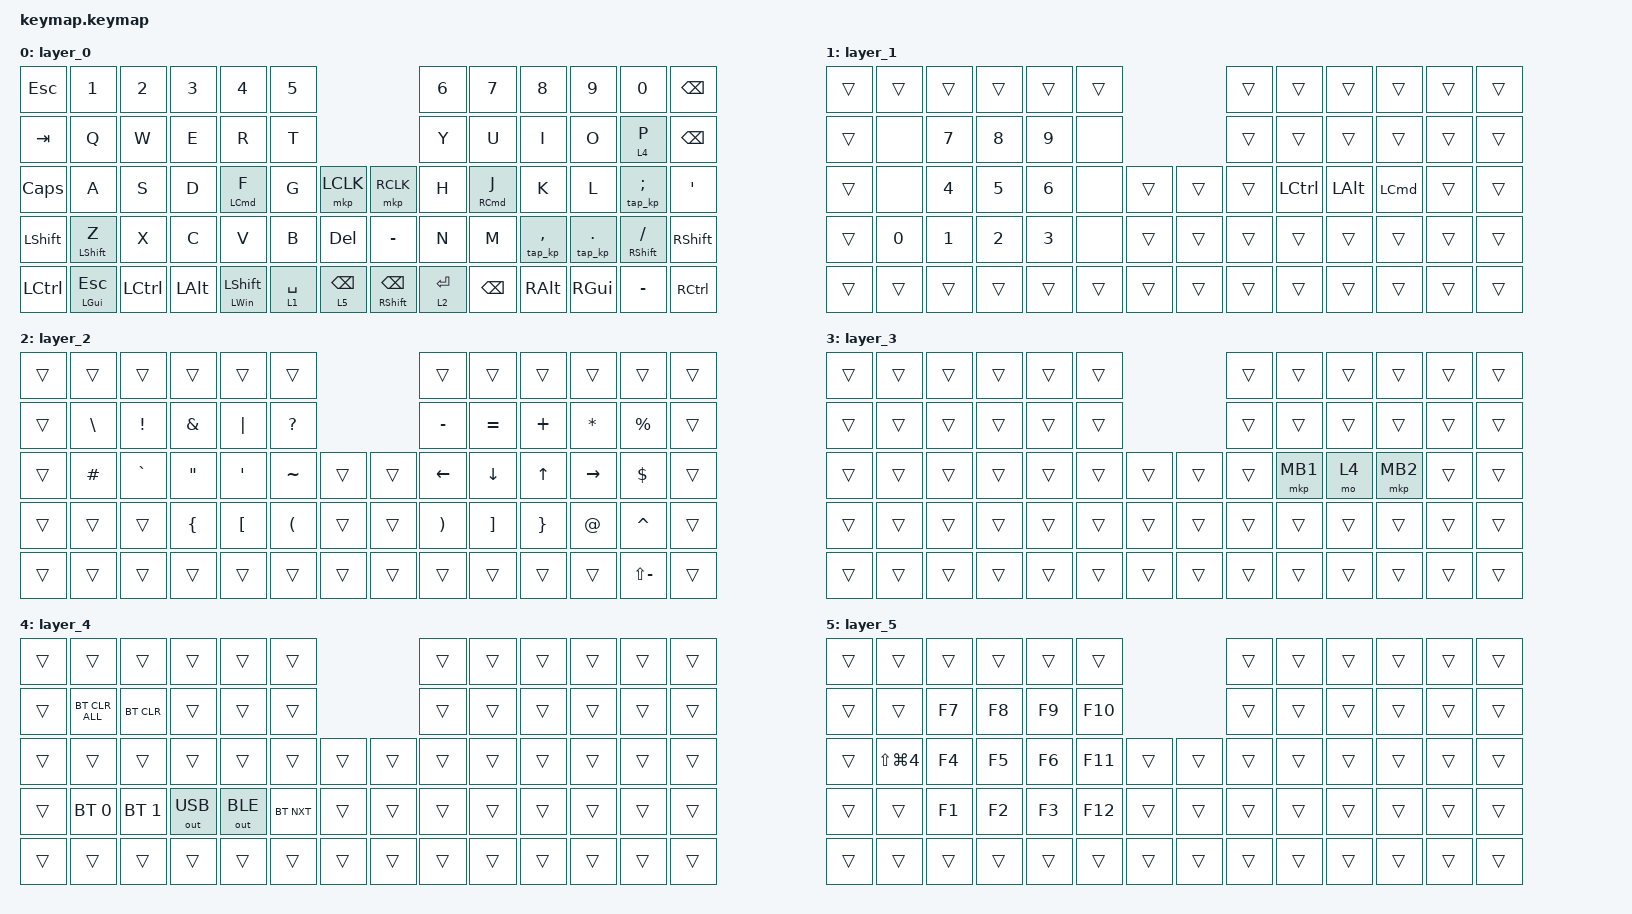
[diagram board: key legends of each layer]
#include <behaviors.dtsi>
#include <dt-bindings/zmk/bt.h>
#include <dt-bindings/zmk/keys.h>
#include <dt-bindings/zmk/outputs.h>
#include <dt-bindings/zmk/pointing.h>

&mt {
    flavor = "balanced";
    quick-tap-ms = <300>;
};

&lt {
    flavor = "balanced";
    quick-tap-ms = <300>;
};

/ {
    combos {
        compatible = "zmk,combos";

        lang2 {
            bindings = <&kp LANG2>;
            key-positions = <29 28>;
        };

        lang1 {
            bindings = <&kp LANG1>;
            key-positions = <32 33>;
        };

        tab {
            bindings = <&kp TAB>;
            key-positions = <25 26>;
        };

        cw {
            bindings = <&caps_word>;
            key-positions = <18 19>;
        };
    };

    macros {
        tap_kp: tap_kp {
            compatible = "zmk,behavior-macro-one-param";
            #binding-cells = <1>;
            wait-ms = <0>;
            tap-ms = <20>;

            bindings
                = <&macro_param_1to1>
                , <&kp MACRO_PLACEHOLDER>
                ;
        };
    };

    behaviors {
        lt_bspc: layer_tap_backspace {
            compatible = "zmk,behavior-hold-tap";
            #binding-cells = <2>;
            flavor = "hold-preferred";
            tapping-term-ms = <180>;
            quick-tap-ms = <0>;
            bindings = <&mo>, <&kp>;
        };
    };

    keymap {
        compatible = "zmk,keymap";

        layer_0 {
            bindings = <
&kp ESC    &kp N1               &kp N2     &kp N3    &kp N4                   &kp N5                                              &kp N6       &kp N7      &kp N8         &kp N9       &kp N0                &kp BSPC
&kp TAB    &kp Q                &kp W      &kp E     &kp R                    &kp T                                               &kp Y        &kp U       &kp I          &kp O        &lt 4 P               &kp BSPC
&kp CAPS   &kp A                &kp S      &kp D     &mt LCMD F               &kp G        &mkp LCLK        &mkp RCLK             &kp H        &mt RCMD J  &kp K          &kp L        &tap_kp SEMI          &kp SQT
&kp LSHFT  &mt LEFT_SHIFT Z     &kp X      &kp C     &kp V                    &kp B        &kp DELETE       &kp MINUS             &kp N        &kp M       &tap_kp COMMA  &tap_kp DOT  &mt RIGHT_SHIFT FSLH  &kp RSHFT
&kp LCTRL  &mt LEFT_GUI ESCAPE  &kp LCTRL  &kp LALT  &mt LEFT_WIN LEFT_SHIFT  &lt 1 SPACE  &lt_bspc 5 BSPC  &mt RIGHT_SHIFT BSPC  &lt 2 ENTER  &kp BSPC    &kp RALT       &kp RGUI     &kp MINUS             &kp RCTRL
            >;
        };

        layer_1 {
            bindings = <
&trans  &trans  &trans  &trans  &trans  &trans                  &trans  &trans     &trans        &trans            &trans  &trans
&trans  &none   &kp N7  &kp N8  &kp N9  &none                   &trans  &trans     &trans        &trans            &trans  &trans
&trans  &none   &kp N4  &kp N5  &kp N6  &none   &trans  &trans  &trans  &kp LCTRL  &kp LEFT_ALT  &kp LEFT_COMMAND  &trans  &trans
&trans  &kp N0  &kp N1  &kp N2  &kp N3  &none   &trans  &trans  &trans  &trans     &trans        &trans            &trans  &trans
&trans  &trans  &trans  &trans  &trans  &trans  &trans  &trans  &trans  &trans     &trans        &trans            &trans  &trans
            >;
        };

        layer_2 {
            bindings = <
&trans  &trans         &trans           &trans             &trans            &trans                                &trans                 &trans             &trans           &trans        &trans         &trans
&trans  &kp BACKSLASH  &kp EXCLAMATION  &kp AMPERSAND      &kp PIPE          &kp QUESTION                          &kp MINUS              &kp EQUAL          &kp PLUS         &kp ASTERISK  &kp PERCENT    &trans
&trans  &kp HASH       &kp GRAVE        &kp DOUBLE_QUOTES  &kp SQT           &kp TILDE             &trans  &trans  &kp LEFT               &kp DOWN           &kp UP           &kp RIGHT     &kp DOLLAR     &trans
&trans  &trans         &trans           &kp LEFT_BRACE     &kp LEFT_BRACKET  &kp LEFT_PARENTHESIS  &trans  &trans  &kp RIGHT_PARENTHESIS  &kp RIGHT_BRACKET  &kp RIGHT_BRACE  &kp AT_SIGN   &kp CARET      &trans
&trans  &trans         &trans           &trans             &trans            &trans                &trans  &trans  &trans                 &trans             &trans           &trans        &kp LS(MINUS)  &trans
            >;
        };

        layer_3 {
            bindings = <
&trans  &trans  &trans  &trans  &trans  &trans                  &trans  &trans    &trans  &trans    &trans  &trans
&trans  &trans  &trans  &trans  &trans  &trans                  &trans  &trans    &trans  &trans    &trans  &trans
&trans  &trans  &trans  &trans  &trans  &trans  &trans  &trans  &trans  &mkp MB1  &mo 4   &mkp MB2  &trans  &trans
&trans  &trans  &trans  &trans  &trans  &trans  &trans  &trans  &trans  &trans    &trans  &trans    &trans  &trans
&trans  &trans  &trans  &trans  &trans  &trans  &trans  &trans  &trans  &trans    &trans  &trans    &trans  &trans
            >;
        };

        layer_4 {
            bindings = <
&trans  &trans          &trans        &trans        &trans        &trans                      &trans  &trans  &trans  &trans  &trans  &trans
&trans  &bt BT_CLR_ALL  &bt BT_CLR    &trans        &trans        &trans                      &trans  &trans  &trans  &trans  &trans  &trans
&trans  &trans          &trans        &trans        &trans        &trans      &trans  &trans  &trans  &trans  &trans  &trans  &trans  &trans
&trans  &bt BT_SEL 0    &bt BT_SEL 1  &out OUT_USB  &out OUT_BLE  &bt BT_NXT  &trans  &trans  &trans  &trans  &trans  &trans  &trans  &trans
&trans  &trans          &trans        &trans        &trans        &trans      &trans  &trans  &trans  &trans  &trans  &trans  &trans  &trans
            >;
        };

        layer_5 {
            bindings = <
&trans  &trans                &trans  &trans  &trans  &trans                   &trans  &trans  &trans  &trans  &trans  &trans
&trans  &trans                &kp F7  &kp F8  &kp F9  &kp F10                  &trans  &trans  &trans  &trans  &trans  &trans
&trans  &kp LS(LG(NUMBER_4))  &kp F4  &kp F5  &kp F6  &kp F11  &trans  &trans  &trans  &trans  &trans  &trans  &trans  &trans
&trans  &trans                &kp F1  &kp F2  &kp F3  &kp F12  &trans  &trans  &trans  &trans  &trans  &trans  &trans  &trans
&trans  &trans                &trans  &trans  &trans  &trans   &trans  &trans  &trans  &trans  &trans  &trans  &trans  &trans
            >;
        };
    };
};
